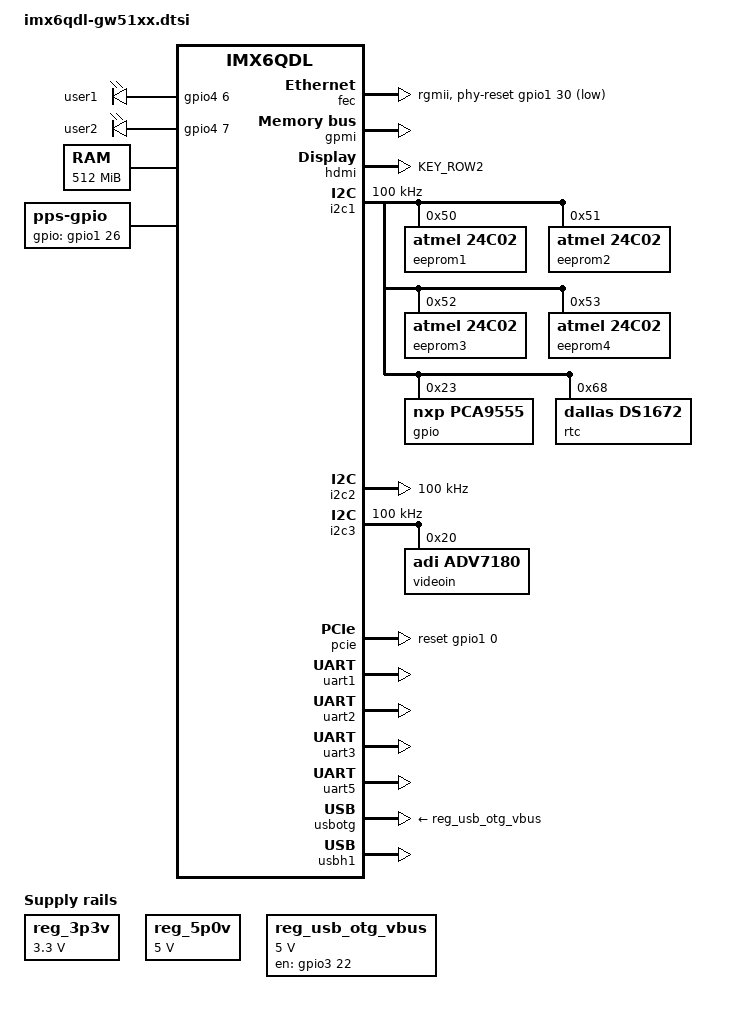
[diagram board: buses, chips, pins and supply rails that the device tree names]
/*
 * Copyright 2013 Gateworks Corporation
 *
 * The code contained herein is licensed under the GNU General Public
 * License. You may obtain a copy of the GNU General Public License
 * Version 2 or later at the following locations:
 *
 * http://www.opensource.org/licenses/gpl-license.html
 * http://www.gnu.org/copyleft/gpl.html
 */

#include <dt-bindings/gpio/gpio.h>

/ {
	/* these are used by bootloader for disabling nodes */
	aliases {
		led0 = &led0;
		led1 = &led1;
		nand = &gpmi;
		usb0 = &usbh1;
		usb1 = &usbotg;
	};

	chosen {
		bootargs = "console=ttymxc1,115200";
	};

	leds {
		compatible = "gpio-leds";
		pinctrl-names = "default";
		pinctrl-0 = <&pinctrl_gpio_leds>;

		led0: user1 {
			label = "user1";
			gpios = <&gpio4 6 GPIO_ACTIVE_HIGH>; /* MX6_PANLEDG */
			default-state = "on";
			linux,default-trigger = "heartbeat";
		};

		led1: user2 {
			label = "user2";
			gpios = <&gpio4 7 GPIO_ACTIVE_HIGH>; /* MX6_PANLEDR */
			default-state = "off";
		};
	};

	memory {
		reg = <0x10000000 0x20000000>;
	};

	pps {
		compatible = "pps-gpio";
		pinctrl-names = "default";
		pinctrl-0 = <&pinctrl_pps>;
		gpios = <&gpio1 26 GPIO_ACTIVE_HIGH>;
		status = "okay";
	};

	regulators {
		compatible = "simple-bus";

		reg_3p3v: 3p3v {
			compatible = "regulator-fixed";
			regulator-name = "3P3V";
			regulator-min-microvolt = <3300000>;
			regulator-max-microvolt = <3300000>;
			regulator-always-on;
		};

		reg_5p0v: 5p0v {
			compatible = "regulator-fixed";
			regulator-name = "5P0V";
			regulator-min-microvolt = <5000000>;
			regulator-max-microvolt = <5000000>;
			regulator-always-on;
		};

		reg_usb_otg_vbus: usb_otg_vbus {
			compatible = "regulator-fixed";
			regulator-name = "usb_otg_vbus";
			regulator-min-microvolt = <5000000>;
			regulator-max-microvolt = <5000000>;
			gpio = <&gpio3 22 GPIO_ACTIVE_HIGH>;
			enable-active-high;
		};
	};

	imx-drm {
		compatible = "fsl,imx-drm";
		crtcs = <&ipu1 0>, <&ipu1 1>;
		connectors = <&hdmi>;
	};
};

&fec {
	pinctrl-names = "default";
	pinctrl-0 = <&pinctrl_enet_1>;
	phy-mode = "rgmii";
	phy-reset-gpios = <&gpio1 30 GPIO_ACTIVE_LOW>;
	status = "okay";
};

&gpmi {
	pinctrl-names = "default";
	pinctrl-0 = <&pinctrl_gpmi_nand_2>;
	status = "okay";
};

&hdmi {
	pinctrl-names = "default";
	pinctrl-0 = <&pinctrl_hog_hdmi>;
	ddc = <&i2c2>;
	status = "okay";
	crtcs = <&ipu1 0>;
};

&hdmi {
	ddc-i2c-bus = <&i2c3>;
	status = "okay";
};

&i2c1 {
	clock-frequency = <100000>;
	pinctrl-names = "default";
	pinctrl-0 = <&pinctrl_i2c1_1>;
	status = "okay";

	eeprom1: eeprom@50 {
		compatible = "atmel,24c02";
		reg = <0x50>;
		pagesize = <16>;
	};

	eeprom2: eeprom@51 {
		compatible = "atmel,24c02";
		reg = <0x51>;
		pagesize = <16>;
	};

	eeprom3: eeprom@52 {
		compatible = "atmel,24c02";
		reg = <0x52>;
		pagesize = <16>;
	};

	eeprom4: eeprom@53 {
		compatible = "atmel,24c02";
		reg = <0x53>;
		pagesize = <16>;
	};

	gpio: pca9555@23 {
		compatible = "nxp,pca9555";
		reg = <0x23>;
		gpio-controller;
		#gpio-cells = <2>;
	};

	rtc: ds1672@68 {
		compatible = "dallas,ds1672";
		reg = <0x68>;
	};
};

&i2c2 {
	clock-frequency = <100000>;
	pinctrl-names = "default";
	pinctrl-0 = <&pinctrl_i2c2_2>;
	status = "okay";
};

&i2c3 {
	clock-frequency = <100000>;
	pinctrl-names = "default";
	pinctrl-0 = <&pinctrl_i2c3_2>;
	status = "okay";

	videoin: adv7180@20 {
		compatible = "adi,adv7180";
		reg = <0x20>;
	};
};

&iomuxc {
	pinctrl-names = "default";
	pinctrl-0 = <&pinctrl_hog>;

	hog {
		pinctrl_hog_hdmi: hog-hdmi {
			fsl,pins = <
				MX6QDL_PAD_KEY_ROW2__HDMI_TX_CEC_LINE 0x1f8b0
			>;
		};

		pinctrl_hog: hoggrp {
			fsl,pins = <
				MX6QDL_PAD_EIM_A19__GPIO2_IO19   0x80000000 /* MEZZ_DIO0 */
				MX6QDL_PAD_EIM_A20__GPIO2_IO18   0x80000000 /* MEZZ_DIO1 */
				MX6QDL_PAD_EIM_D22__GPIO3_IO22   0x80000000 /* OTG_PWR_EN */
				MX6QDL_PAD_ENET_RXD1__GPIO1_IO26 0x80000000 /* GPS_PPS */
				MX6QDL_PAD_ENET_TXD0__GPIO1_IO30 0x80000000 /* PHY Reset */
				MX6QDL_PAD_GPIO_0__GPIO1_IO00    0x80000000 /* PCIE_RST# */
				MX6QDL_PAD_KEY_COL0__GPIO4_IO06  0x80000000 /* user1 led */
				MX6QDL_PAD_KEY_ROW0__GPIO4_IO07  0x80000000 /* user2 led */
			 >;
		};
	};
};

&pcie {
	reset-gpio = <&gpio1 0 0>;
	status = "okay";
};

&uart1 {
	pinctrl-names = "default";
	pinctrl-0 = <&pinctrl_uart1_2>;
	status = "okay";
};

&uart2 {
	pinctrl-names = "default";
	pinctrl-0 = <&pinctrl_uart2_3>;
	status = "okay";
};

&uart3 {
	pinctrl-names = "default";
	pinctrl-0 = <&pinctrl_uart3_3>;
	status = "okay";
};

&uart5 {
	pinctrl-names = "default";
	pinctrl-0 = <&pinctrl_uart5_1>;
	status = "okay";
};

&usbotg {
	vbus-supply = <&reg_usb_otg_vbus>;
	pinctrl-names = "default";
	pinctrl-0 = <&pinctrl_usbotg_1>;
	disable-over-current;
	status = "okay";
};

&usbh1 {
	status = "okay";
};
